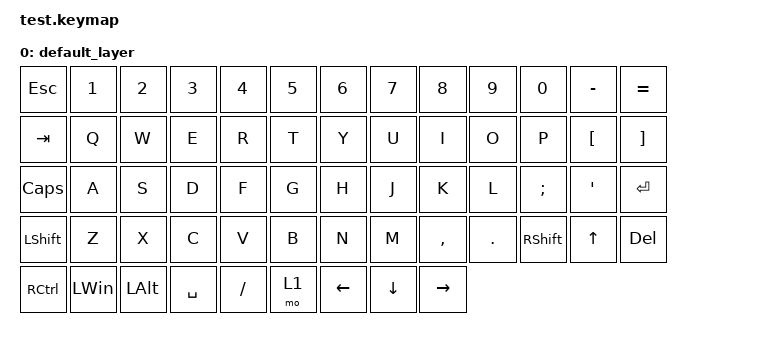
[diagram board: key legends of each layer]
#include <behaviors.dtsi>
#include <dt-bindings/zmk/keys.h>
#include <dt-bindings/zmk/bt.h>

/ {
    keymap {
            compatible = "zmk,keymap";

            default_layer {
            bindings = <
&kp ESC    &kp N1   &kp N2   &kp N3    &kp N4    &kp N5 &kp N6   &kp N7   &kp N8    &kp N9     &kp 0      &kp MINUS &kp EQUAL
&kp TAB    &kp Q    &kp W    &kp E     &kp R     &kp T  &kp Y    &kp U    &kp I     &kp O      &kp P      &kp LBKT  &kp RBKT
&kp CAPS   &kp A    &kp S    &kp D     &kp F     &kp G  &kp H    &kp J    &kp K     &kp L      &kp SEMI   &kp APOS  &kp ENTER
&kp LSHIFT &kp Z    &kp X    &kp C     &kp V     &kp B  &kp N    &kp M    &kp COMMA &kp PERIOD &kp RSHIFT &kp UP    &kp DEL
&kp RCTRL  &kp LWIN &kp LALT &kp SPACE &kp SLASH &mo 1  &kp LEFT &kp DOWN &kp RIGHT
            >;
        };
    };
};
